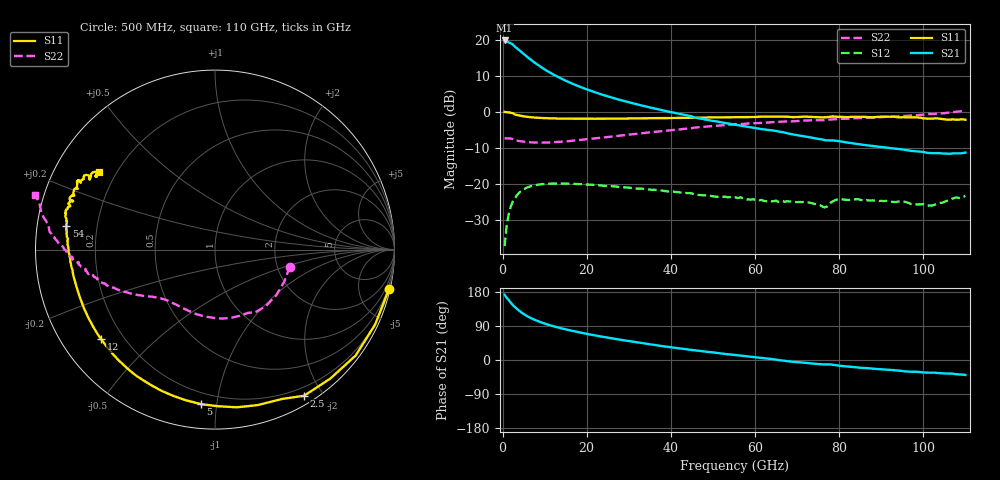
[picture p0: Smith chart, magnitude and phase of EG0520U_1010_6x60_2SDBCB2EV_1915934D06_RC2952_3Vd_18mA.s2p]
!File name = EG0520U_1010_6x60_2SDBCB2EV_1915934D06_RC2952_3Vd_18mA.s2p
!Base file name = EG0520U_1010_6x60_2SDBCB2EV_1915934D06_RC2952
!Date = 8/23/2019
!Time = 1:14 PM
!Test duration(min) = 0.15
!Test = S-Parameters
!MPTS version = 8.91.5
!State File = C:\Data\PNA\20190821205423\S-Parameters_2019-08-23.sta
!Cal File =
!ComputerName = CMPE-LAB-6
!Comments =
!Attenuation = 0
!Z0 = 50
!Input Power(dBm) = -13.00
!Device ID = EG0520U_1010_6x60_2SDBCB2EV
!Row = 29
!Column = 52
!Technology = QPHT09
!Lot/Wafer = 1915934D06
!Gate Size = 360
!Mask = EG0520
!Cal Standards = GaAs BCB
!Cal Kit = EG2306
!Job Number = 20190821205423
!Device Type = FET
!set_Vg(v) = -1.500
!set_Vd(v) = 3.000
!set_Vd(mA) = 18.000
!file_name = EG0520U_1010_6x60_2SDBCB2EV_1915934D06_RC2952_3Vd_18mA.s2p
!Vd(V) = 3.000
!Vd(mA) = 17.921
!Vg(V) = -0.607
!Vg(mA) = -0.004
# GHz  S  DB  R  50
!%	Freq(GHz)  s11(dB)  s11(deg)  s21(dB)  s21(deg)  s12(dB)  s12(deg)  s22(dB)  s22(deg)
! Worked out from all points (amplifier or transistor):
!   220 points, 500 MHz to 110 GHz, reference 50 ohm
!   highest |S21| = 19.8 dB at 500 MHz (marker M1)
!   |S21| within 3 dB of that: start of sweep to 4.269 GHz
!   unconditionally stable (mu >= 1): 37.43 GHz to 102.3 GHz
!   at 18.5 GHz: K = 0.49, MSG = 13.5 dB, |S12| = -20.1 dB
!   at 55.5 GHz: K = 1.38, MAG = 6.4 dB, |S12| = -23.8 dB
!   at 110 GHz: K = -1.82, MSG = 6.0 dB, |S12| = -23.4 dB
!   S11 on the Smith chart (normalised r, x): 500 MHz: 0.23, -9.01; 2.5 GHz: 0.10, -1.78; 5 GHz: 0.13, -0.90; 12 GHz: 0.12, -0.34; 54 GHz: 0.09, +0.08; 110 GHz: 0.14, +0.30
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0.5  -0.05 -12.7  19.85 172.1  -37.42 81.6  -7.38 -12.8
1  -0.13 -25.1  19.55 164.1  -31.60 74.9  -7.43 -24.8
2  -0.32 -48.2  19.05 150.4  -26.27 61.6  -7.46 -48.2
2.5  -0.41 -58.6  18.68 144.4  -24.83 56.1  -7.64 -57.8
3  -0.81 -65.9  18.06 139.2  -23.96 51.8  -8.00 -62.0
3.5  -0.93 -74.5  17.61 134.2  -23.12 47.3  -8.09 -69.6
4.5  -1.18 -89.0  16.61 125.3  -21.98 39.6  -8.25 -82.9
5  -1.27 -95.2  16.12 121.7  -21.59 36.4  -8.33 -88.4
6  -1.44 -106.1  15.16 114.9  -21.03 31.0  -8.47 -97.8
7.5  -1.61 -118.7  13.79 106.7  -20.52 24.5  -8.55 -108.5
9.5  -1.75 -130.9  12.18 98.1  -20.14 18.0  -8.59 -117.8
12  -1.86 -142.0  10.42 89.4  -19.99 12.0  -8.50 -126.0
15  -1.92 -151.2  8.64 80.8  -20.02 6.7  -8.25 -132.7
19  -1.96 -159.9  6.67 71.2  -20.18 1.2  -7.80 -138.2
27  -1.91 -170.9  3.59 55.1  -20.82 -5.8  -6.76 -145.5
37  -1.76 -179.2  0.68 38.1  -21.80 -10.2  -5.49 -152.7
54  -1.52 170.9  -3.38 14.7  -23.76 -12.3  -3.59 -164.1
55.5  -1.52 169.9  -3.66 12.8  -23.85 -13.9  -3.45 -164.9
73.5  -1.44 161.6  -7.22 -9.2  -25.47 -16.4  -2.34 -173.7
92  -1.40 153.1  -10.10 -26.2  -24.84 -24.4  -1.41 178.7
102  -1.93 149.9  -11.54 -33.6  -26.15 -23.4  -0.61 172.6
110  -2.23 146.3  -11.36 -39.5  -23.43 -24.2  0.39 163.1
